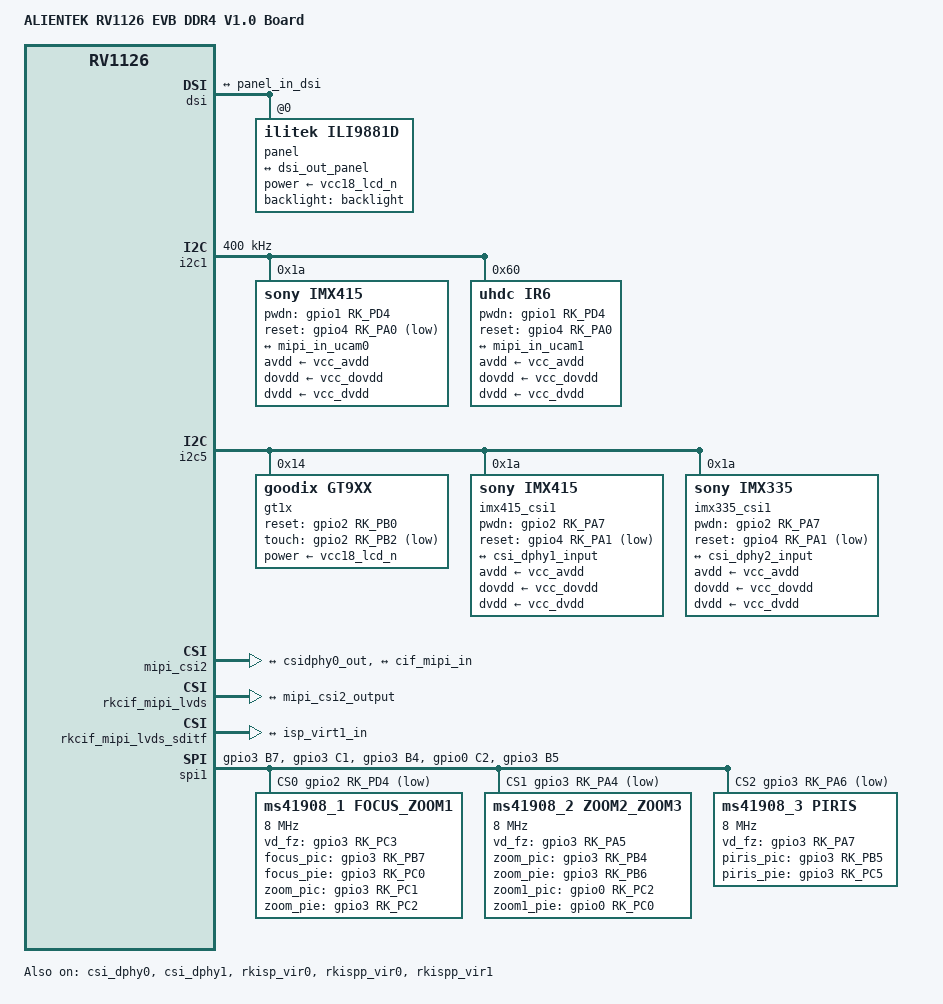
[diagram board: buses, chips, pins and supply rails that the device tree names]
/* SPDX-License-Identifier: (GPL-2.0+ OR MIT)
/*
 * Copyright (c) 2020 Rockchip Electronics Co., Ltd.
 */
/dts-v1/;
#include "rv1126.dtsi"
#include "rv1126-alientek.dtsi"
/ {
    model = "ALIENTEK RV1126 EVB DDR4 V1.0 Board";
    compatible = "rockchip,rv1126-evb-ddr3-v13", "rockchip,rv1126";

    chosen {
        bootargs = "earlycon=uart8250,mmio32,0xff570000 console=ttyFIQ0 root=PARTUUID=614e0000-0000 rootfstype=ext4 rootwait snd_aloop.index=7";
    };
};
&dsi {
	status = "okay";

	panel@0 {
		compatible = "ilitek,ili9881d", "simple-panel-dsi";
		reg = <0>;
		backlight = <&backlight>;
		power-supply = <&vcc18_lcd_n>;
		prepare-delay-ms = <5>;
		reset-delay-ms = <1>;
		init-delay-ms = <80>;
		disable-delay-ms = <10>;
		unprepare-delay-ms = <5>;

		width-mm = <68>;
		height-mm = <121>;

		dsi,flags = <(MIPI_DSI_MODE_VIDEO | MIPI_DSI_MODE_VIDEO_BURST |
			      MIPI_DSI_MODE_LPM | MIPI_DSI_MODE_EOT_PACKET)>;
		dsi,format = <MIPI_DSI_FMT_RGB888>;
		dsi,lanes = <4>;

		panel-init-sequence = [
            39 00 04 B9 FF 83 94
            15 00 02 36 01
            39 00 07 BA 63 03 68 6B B2 C0
            39 00 0B B1 48 12 72 09 32 54 71 71 57 47
            39 00 07 B2 00 80 64 0C 0D 2F
            39 00 16 B4 73 74 73 74 73 74 01 0C 86 75 00 3F 73 74 73 74 73 74 01 0C 86
            39 00 03 B6 6E 6E
            39 00 22 D3 00 00 07 07 40 07 0C 00 08 10 08 00 08 54 15 0A 05 0A 02 15 06 05 06 47 44 0A 0A 4B 10 07 07 0C 40
            39 00 2D D5 1C 1C 1D 1D 00 01 02 03 04 05 06 07 08 09 0A 0B 24 25 18 18 26 27 18 18 18 18 18 18 18 18 18 18 18 18 18 18 18 18 20 21 18 18 18 18
            39 00 2D D6 1C 1C 1D 1D 07 06 05 04 03 02 01 00 0B 0A 09 08 21 20 18 18 27 26 18 18 18 18 18 18 18 18 18 18 18 18 18 18 18 18 25 24 18 18 18 18
            39 00 3B E0 00 0A 15 1B 1E 21 24 22 47 56 65 66 6E 82 88 8B 9A 9D 98 A8 B9 5D 5C 61 66 6A 6F 7F 7F 00 0A 15 1B 1E 21 24 22 47 56 65 65 6E 81 87 8B 98 9D 99 A8 BA 5D 5D 62 67 6B 72 7F 7F
            39 00 03 C0 1F 31
            15 00 02 CC 03
            15 00 02 D4 02
            15 00 02 BD 02
            39 00 0D D8 FF FF FF FF FF FF FF FF FF FF FF FF
            15 00 02 BD 00
            15 00 02 BD 01
            15 00 02 B1 00
            15 00 02 BD 00
            39 00 08 BF 40 81 50 00 1A FC 01
            15 00 02 C6 ED
            05 64 01 11
            05 78 01 29

        ];

		display-timings {
            native-mode = <&timing0>;
			timing0: timing0 {
				clock-frequency = <65000000>;
				hactive = <720>;
				vactive = <1280>;
				hfront-porch = <48>;
				hsync-len = <8>;
				hback-porch = <52>;
				vfront-porch = <16>;
				vsync-len = <6>;
				vback-porch = <15>;
				hsync-active = <0>;
				vsync-active = <0>;
				de-active = <0>;
				pixelclk-active = <0>;
			};
		};

        
		ports {
			#address-cells = <1>;
			#size-cells = <0>;

			port@0 {
				reg = <0>;
				panel_in_dsi: endpoint {
					remote-endpoint = <&dsi_out_panel>;
				};
			};
		};
	};

	ports {
		#address-cells = <1>;
		#size-cells = <0>;

		port@1 {
			reg = <1>;
			dsi_out_panel: endpoint {
				remote-endpoint = <&panel_in_dsi>;
			};
		};
	};
};

&csi_dphy0 {
    status = "okay";

    ports {
        #address-cells = <1>;
        #size-cells = <0>;
        port@0 {
            reg = <0>;
            #address-cells = <1>;
            #size-cells = <0>;

            mipi_in_ucam0: endpoint@1 {
                reg = <1>;
                remote-endpoint = <&ucam_out0>;
                data-lanes = <1 2 3 4>;
            };

            mipi_in_ucam1: endpoint@2 {
                reg = <2>;
                remote-endpoint = <&ucam_out1>;
                data-lanes = <1 2 3 4>;
            };
        };
        port@1 {
            reg = <1>;
            #address-cells = <1>;
            #size-cells = <0>;

            csidphy0_out: endpoint@0 {
                reg = <0>;
                remote-endpoint = <&mipi_csi2_input>;
            };
        };
    };
};

&csi_dphy1 {
    status = "okay";

    ports {
        #address-cells = <1>;
        #size-cells = <0>;

        port@0 {
            reg = <0>;
            #address-cells = <1>;
            #size-cells = <0>;

            csi_dphy1_input: endpoint@1 {
                reg = <1>;
                remote-endpoint = <&ucam_out2>;
                data-lanes = <1 2 3 4>;
            };

            csi_dphy2_input: endpoint@2 {
                reg = <2>;
                remote-endpoint = <&ucam_out3>;
                data-lanes = <1 2 3 4>;
            };
        };

        port@1 {
            reg = <1>;
            #address-cells = <1>;
            #size-cells = <0>;

            csi_dphy1_output: endpoint@0 {
                reg = <0>;
                remote-endpoint = <&isp_in>;
                data-lanes = <1 2 3 4>;
            };
        };
    };
};


&i2c1 {
	status = "okay";
	clock-frequency = <400000>;

    imx415: imx415@1a {
        compatible = "sony,imx415";
        reg = <0x1a>;
        clocks = <&cru CLK_MIPICSI_OUT>;
        clock-names = "xvclk";
        power-domains = <&power RV1126_PD_VI>;
        pinctrl-names = "rockchip,camera_default";
        pinctrl-0 = <&mipicsi_clk0>;
        avdd-supply = <&vcc_avdd>;
        dovdd-supply = <&vcc_dovdd>;
        dvdd-supply = <&vcc_dvdd>;
        pwdn-gpios = <&gpio1 RK_PD4 GPIO_ACTIVE_HIGH>;
        reset-gpios = <&gpio4 RK_PA0 GPIO_ACTIVE_LOW>;
        rockchip,camera-module-index = <0>;
        rockchip,camera-module-facing = "front";
        rockchip,camera-module-name = "YT10092";
        rockchip,camera-module-lens-name = "IR0147-60IRC-8M-F20-hdr3";
        port {
            ucam_out0: endpoint {
                remote-endpoint = <&mipi_in_ucam0>;
                data-lanes = <1 2 3 4>;
            };
        };
    };

    ir6: ir6@60 {
        compatible = "uhdc,ir6";
        reg = <0x60>;
        // clocks = <&cru CLK_MIPICSI_OUT>;
        clocks = <&cru CLK_MIPICSI_OUT>;
        clock-names = "xvclk";
        power-domains = <&power RV1126_PD_VI>;
        pinctrl-names = "rockchip,camera_default";
        pinctrl-0 = <&mipicsi_clk0>;
        avdd-supply = <&vcc_avdd>;
        dovdd-supply = <&vcc_dovdd>;
        dvdd-supply = <&vcc_dvdd>;
        pwdn-gpios = <&gpio1 RK_PD4 GPIO_ACTIVE_HIGH>;
        reset-gpios = <&gpio4 RK_PA0 GPIO_ACTIVE_HIGH>;
        rockchip,camera-module-index = <0>;
        rockchip,camera-module-facing = "front";
        rockchip,camera-module-name = "UHD099";
        rockchip,camera-module-lens-name = "NIR-E-2M-F1-hdr2";
        
        // ir-cut = <&cam_ircut0>;
        // flash-leds = <&flash_ir>;
        lens-focus = <&ms41908_1>;
        port {
            ucam_out1: endpoint {
                remote-endpoint = <&mipi_in_ucam1>;
                data-lanes = <1 2 3 4>;
            };
        };

    };

};

&i2c5 {
    gt1x: gt1x@14 {
        compatible = "goodix,gt9xx";
        reg = <0x14>;
        gtp_ics_slot_report;
        pinctrl-names = "default";
        pinctrl-0 = <&touch_gpio>;
        power-supply = <&vcc18_lcd_n>;
        reset-gpio = <&gpio2 RK_PB0 GPIO_ACTIVE_HIGH>;
        touch-gpio = <&gpio2 RK_PB2 GPIO_ACTIVE_LOW>;
        tp-size = <911>;
        status = "okay";
    };

    imx415_csi1: imx415@1a {
        compatible = "sony,imx415";
        reg = <0x1a>;
        clocks = <&cru CLK_MIPICSI_OUT>;
        clock-names = "xvclk";
        power-domains = <&power RV1126_PD_VI>;
        pinctrl-names = "rockchip,camera_default";
        pinctrl-0 = <&mipicsi_clk1>;
        avdd-supply = <&vcc_avdd>;
        dovdd-supply = <&vcc_dovdd>;
        dvdd-supply = <&vcc_dvdd>;
        pwdn-gpios = <&gpio2 RK_PA7 GPIO_ACTIVE_HIGH>;
        reset-gpios = <&gpio4 RK_PA1 GPIO_ACTIVE_LOW>;
        rockchip,camera-module-index = <1>;
        rockchip,camera-module-facing = "front";
        rockchip,camera-module-name = "YT10092";
        rockchip,camera-module-lens-name = "IR0147-60IRC-8M-F20-hdr3";
        port {
            ucam_out2: endpoint {
                remote-endpoint = <&csi_dphy1_input>;
                data-lanes = <1 2 3 4>;
            };
        };
    };

    imx335_csi1: imx335-csi@1a {
        compatible = "sony,imx335";
        reg = <0x1a>;
        clocks = <&cru CLK_MIPICSI_OUT>;
        clock-names = "xvclk";
        power-domains = <&power RV1126_PD_VI>;
        pinctrl-names = "rockchip,camera_default";
        pinctrl-0 = <&mipicsi_clk1>;
        avdd-supply = <&vcc_avdd>;
        dovdd-supply = <&vcc_dovdd>;
        dvdd-supply = <&vcc_dvdd>;
        pwdn-gpios = <&gpio2 RK_PA7 GPIO_ACTIVE_HIGH>;
        reset-gpios = <&gpio4 RK_PA1 GPIO_ACTIVE_LOW>;
        rockchip,camera-module-index = <1>;
        rockchip,camera-module-facing = "front";
        rockchip,camera-module-name = "MTV4-IR-E-P";
        rockchip,camera-module-lens-name = "40IRC-4MP-F16";
        port {
            ucam_out3: endpoint {
                remote-endpoint = <&csi_dphy2_input>;
                data-lanes = <1 2 3 4>;
            };
        };
    };

};

&isp_reserved {
    size = <0x20000000>;
};
&mipi_csi2 {
    status = "okay";

    ports {
        #address-cells = <1>;
        #size-cells = <0>;

        port@0 {
            reg = <0>;
            #address-cells = <1>;
            #size-cells = <0>;

            mipi_csi2_input: endpoint@1 {
                reg = <1>;
                remote-endpoint = <&csidphy0_out>;
                data-lanes = <1 2 3 4>;
            };
        };

        port@1 {
            reg = <1>;
            #address-cells = <1>;
            #size-cells = <0>;

            mipi_csi2_output: endpoint@0 {
                reg = <0>;
                remote-endpoint = <&cif_mipi_in>;
                data-lanes = <1 2 3 4>;
            };
        };
    };
};

&rkcif_mipi_lvds {
    status = "okay";

    port {
        /* MIPI CSI-2 endpoint */
        cif_mipi_in: endpoint {
            remote-endpoint = <&mipi_csi2_output>;
            data-lanes = <1 2 3 4>;
        };
    };
};

&rkcif_mipi_lvds_sditf {
    status = "okay";

    port {
        /* MIPI CSI-2 endpoint */
        cif_sditf: endpoint {
            remote-endpoint = <&isp_virt1_in>;
            data-lanes = <1 2 3 4>;
        };
    };
};

&rkisp_vir0 {
    status = "okay";

    ports {
        port@0 {
            reg = <0>;
            #address-cells = <1>;
            #size-cells = <0>;

            isp_virt1_in: endpoint@0 {
                reg = <0>;
                remote-endpoint = <&cif_sditf>;
            };
        };
    };
};

&rkisp_vir1 {
    status = "disable";     // okay -> disable  
    ports {
        port@0 {
            reg = <0>;
            #address-cells = <1>;
            #size-cells = <0>;

            isp_in: endpoint@0 {
                reg = <0>;
                remote-endpoint = <&csi_dphy1_output>;
            };
        };
    };
};


&rkispp_vir0 {
	status = "okay";
};

&rkispp_vir1 {
	status = "okay";
};

&isp_reserved {
    size = <0x20000000>;
};

&rkispp {
	max-input = <3840 2160 30>;
};

// ms41908 motor drive ic related
&pinctrl {
	gpio {
		/omit-if-no-ref/
		focus_pic_gpio: pic-gpio {
			rockchip,pins = <3 RK_PB7 0 &pcfg_pull_up_drv_level_1>;
		};

        zoom1_pic_gpio: zoom1-pic-gpio {
            rockchip,pins = <3 RK_PC1 0 &pcfg_pull_up_drv_level_1>;
        };

        zoom2_pic_gpio: zoom2-pic-gpio {
            rockchip,pins = <3 RK_PB4 0 &pcfg_pull_up_drv_level_1>;
        };

        zoom3_pic_gpio: zoom3-pic-gpio {
            rockchip,pins = <0 RK_PC2 0 &pcfg_pull_up_drv_level_1>;
        };

        piris_pic_gpio: piris-pic-gpio {
            rockchip,pins = <3 RK_PB5 0 &pcfg_pull_up_drv_level_1>;
        };

        // gpioClocks: gpioClocks {
        //     rockchip,pins = <3 RK_C6 1 &pcfg_pull_none>;
        // };
	};

    led-gpios{
        /omit-if-no-ref/
        led_gpio: led-pin {
            rockchip,pins =
            <3 RK_PD4 0 &pcfg_pull_none>;
        };

        clk_gpio: clk-pin {
            rockchip,pins =
            <3 RK_PC6 1 &pcfg_pull_none>;
        };
    };
};

&spi1 {
    status = "okay";
    max-freq = <50000000>;
    pinctrl-names = "default", "high_speed","pic-gpio" ;
    assigned-clocks = <&pmucru CLK_SPI0>;
    assigned-clock-rates = <100000000>;
    pinctrl-0 = <&spi1m2_cs0 &spi1m2_cs1   &spi1m2_pins   &focus_pic_gpio   &zoom1_pic_gpio &zoom2_pic_gpio &zoom3_pic_gpio &piris_pic_gpio>;//&pic_gpio需要设置为上拉，在pirctrl.dtsi中配置
    // pinctrl-0 = <&spi1m2_cs0 &spi1m2_cs1   &spi1m2_pins   &focus_pic_gpio   &zoom1_pic_gpio >;//&pic_gpio需要设置为上拉，在pirctrl.dtsi中配置
    pinctrl-1 = <&spi1m2_cs0 &spi1m2_cs1   &spi1m2_pins_hs>;
	
    cs-gpios = <
        &gpio2 RK_PD4 GPIO_ACTIVE_LOW  
        &gpio3 RK_PA4 GPIO_ACTIVE_LOW
        &gpio3 RK_PA6 GPIO_ACTIVE_LOW
    >;

    // focus + zoom1 
    ms41908_1: ms41908_1@00 {
        // === Spi 设备配置 ===
        compatible = "ms41908_1,focus_zoom1";
        reg = <0>;
        spi-max-frequency = <8000000>;  // SPI 通讯速率

        rockchip,camera-module-index = <0>;
        rockchip,camera-module-facing="front";

        bias-pull-up; 

        // === 管脚配置 ===       
        vd_fz-period-us = <10000>;
        vd_fz-gpios = <&gpio3 RK_PC3 GPIO_ACTIVE_HIGH>;
        // reset-gpios=<&gpio0 RK_PC3 GPIO_ACTIVE_HIGH>;
        // Focus IO
        focus_pic-gpios=<&gpio3 RK_PB7 GPIO_ACTIVE_HIGH>;
        focus_pie-gpios=<&gpio3 RK_PC0 GPIO_ACTIVE_HIGH>;
        // Zoom IO
        zoom_pic-gpios=<&gpio3 RK_PC1 GPIO_ACTIVE_HIGH>;
        zoom_pie-gpios=<&gpio3 RK_PC2 GPIO_ACTIVE_HIGH>;
        
        // === focus 参数配置 ===
        use-focus;
        focus-used-pin = "cd";
        focus-backlash=<6>;
        focus-start-up-speed=<800>;
        focus-step-max=<3257>;  // 2803 | 2923 | 3257
        focus-ppw=<200>;
        focus-micro=<64>;
        focus-min-pos=<2405>;    //197 | 316  2405
        focus-max-pos=<474>;    // 474
        focus-reback-distance=<0>;
        // focus-dir-opposite;
        focus-1-2phase-excitation;

        // === zoom 参数配置 ===
        use-zoom;
        zoom-used-pin = "ab";
        zoom-backlash=<3>;
        zoom-start-up-speed=<800>;
        zoom-step-max=<1755>;
        zoom-ppw=<200>;
        zoom-micro=<64>;
        zoom-min-pos=<1024>;
        zoom-max-pos=<731>;
        zoom-reback-distance=<0>;
        // zoom-dir-opposite;
        // zoom-1-2phase-excitation;

        // === piris 参数配置 ===
        use-p-iris;
        piris-used-pin = "ab";
        piris-backlash=<3>;
        piris-start-up-speed=<800>;
        piris-step-max=<100>;   // 1700
        piris-ppw=<200>;
        piris-micro=<64>;
        piris-min-pos=<4>;
        piris-max-pos=<46>;
        piris-reback-distance=<0>;
        // piris-dir-opposite;
        piris-1-2phase-excitation;
    };

    // zoom2 + zoom3 
    ms41908_2: ms41908_2@01 {    // ms41908_2: ms41908_2@01 {
        // === Spi 设备配置 ===
        compatible = "ms41908_2,zoom2_zoom3";   // ms41908_2,zoom2_zoom3
        reg = <1>;
        spi-max-frequency = <8000000>;  // SPI 通讯速率

        rockchip,camera-module-index = <0>;
        rockchip,camera-module-facing="front";

        bias-pull-up; 

        // === 管脚配置 ===       
        vd_fz-period-us = <10000>;
        vd_fz-gpios = <&gpio3 RK_PA5 GPIO_ACTIVE_HIGH>;
        // reset-gpios=<&gpio2 RK_PC0 GPIO_ACTIVE_HIGH>;
        // Zoom2 IO
        zoom_pic-gpios=<&gpio3 RK_PB4 GPIO_ACTIVE_HIGH>;    
        zoom_pie-gpios=<&gpio3 RK_PB6 GPIO_ACTIVE_HIGH>;
        // Zoom3 IO
        zoom1_pic-gpios=<&gpio0 RK_PC2 GPIO_ACTIVE_HIGH>;
        zoom1_pie-gpios=<&gpio0 RK_PC0 GPIO_ACTIVE_HIGH>;
        
        // === zoom2 参数配置 ===
        use-zoom;
        zoom-used-pin = "ab";
        zoom-backlash=<3>;
        zoom-start-up-speed=<800>;
        zoom-step-max=<1757>;   // 1700
        zoom-ppw=<200>;
        zoom-micro=<64>;
        zoom-min-pos=<165>;
        zoom-max-pos=<1363>;
        zoom-reback-distance=<0>;
        // zoom-dir-opposite;
        zoom-1-2phase-excitation;

        // === zoom3 参数配置 ===
        use-zoom1;
        zoom1-used-pin = "cd";
        zoom1-backlash=<3>;
        zoom1-start-up-speed=<800>;
        zoom1-step-max=<2448>;  // 2438
        zoom1-ppw=<200>;
        zoom1-micro=<64>;
        zoom1-min-pos=<491>;
        zoom1-max-pos=<1877>;
        zoom1-reback-distance=<0>;
        // zoom1-dir-opposite;
        zoom1-1-2phase-excitation;
    };

    // piris
    ms41908_3: ms41908_3@01 {    
        // === Spi 设备配置 ===
        compatible = "ms41908_3,piris";   // P-Iris
        reg = <2>;
        spi-max-frequency = <8000000>;  // SPI 通讯速率

        rockchip,camera-module-index = <0>;
        rockchip,camera-module-facing="front";

        bias-pull-up; 

        // === 管脚配置 ===       
        vd_fz-period-us = <10000>;
        vd_fz-gpios = <&gpio3 RK_PA7 GPIO_ACTIVE_HIGH>;
        // reset-gpios=<&gpio2 RK_PC0 GPIO_ACTIVE_HIGH>;
        // Piris IO
        // piris_pic-gpios=<&gpio0 RK_PC3 GPIO_ACTIVE_HIGH>;    
        piris_pic-gpios=<&gpio3 RK_PB5 GPIO_ACTIVE_HIGH>;  
        piris_pie-gpios=<&gpio3 RK_PC5 GPIO_ACTIVE_HIGH>;

        // === piris 参数配置 ===
        use-p-iris;
        piris-used-pin = "ab";
        piris-backlash=<3>;
        piris-start-up-speed=<800>;
        piris-step-max=<50>;   // 1700
        piris-ppw=<200>;
        piris-micro=<64>;
        piris-min-pos=<4>;
        piris-max-pos=<46>;
        piris-reback-distance=<0>;
        // piris-dir-opposite;
        piris-1-2phase-excitation;

    };

};

&pmu_io_domains {

	vccio6-supply = <&vcc_3v3>;

};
